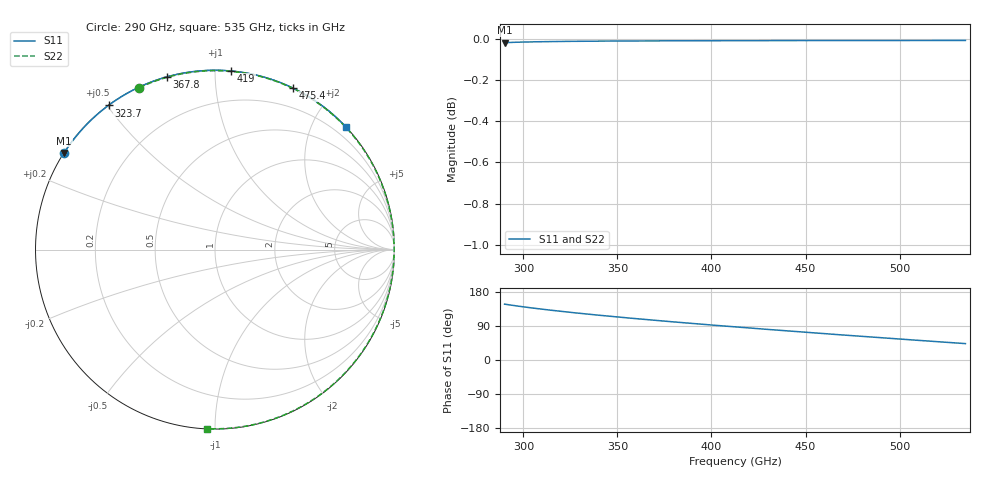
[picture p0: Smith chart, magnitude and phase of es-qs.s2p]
!Created with skrf (http://scikit-rf.org).
# GHz S RI R 50.0
!freq ReS11 ImS11 ReS21 ImS21 ReS12 ImS12 ReS22 ImS22
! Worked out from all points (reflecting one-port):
!   1201 points, 290 GHz to 535 GHz, reference 50 ohm
!   lowest |S11| = 0.0 dB at 290 GHz (marker M1), VSWR 977.10, Z = 0.0556 + j14.6 ohm
!   phase of S11 starts at 147 deg and turns -104 deg over the sweep
!   S11 on the Smith chart (normalised r, x): 290 GHz: 0.00, +0.29; 323.7 GHz: 0.00, +0.50; 367.8 GHz: 0.00, +0.76; 419 GHz: 0.00, +1.09; 475.4 GHz: 0.00, +1.60; 535 GHz: 0.00, +2.52
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290  -0.8405 0.538  0 0  0 0  -0.4212 0.9025
297.7583  -0.7841 0.6178  0 0  0 0  -0.2383 0.9676
305.5167  -0.7272 0.6841  0 0  0 0  -0.067 0.9946
314.2958  -0.6626 0.7471  0 0  0 0  0.1123 0.9908
323.6875  -0.5932 0.8034  0 0  0 0  0.2862 0.9554
331.0375  -0.5389 0.8408  0 0  0 0  0.4092 0.9097
340.225  -0.4711 0.8807  0 0  0 0  0.5464 0.8347
349.4125  -0.4035 0.9137  0 0  0 0  0.6652 0.7436
358.6  -0.3362 0.9406  0 0  0 0  0.7655 0.6401
367.7875  -0.2693 0.962  0 0  0 0  0.8473 0.5271
371.6667  -0.2413 0.9694  0 0  0 0  0.8764 0.4773
381.6708  -0.1695 0.9845  0 0  0 0  0.9367 0.3444
391.8792  -0.0972 0.9943  0 0  0 0  0.9768 0.205
402.0875  -0.026 0.9987  0 0  0 0  0.996 0.0645
412.5  0.0452 0.998  0 0  0 0  0.9951 -0.0772
419.0333  0.0892 0.9951  0 0  0 0  0.9846 -0.1642
435.775  0.1987 0.9791  0 0  0 0  0.9247 -0.3759
453.5375  0.3096 0.9499  0 0  0 0  0.8155 -0.5758
475.3833  0.4373 0.8984  0 0  0 0  0.6286 -0.7755
494.1667  0.5386 0.8416  0 0  0 0  0.4339 -0.8991
514.5833  0.6388 0.7683  0 0  0 0  0.2003 -0.978
535  0.7278 0.6845  0 0  0 0  -0.0418 -0.9975
